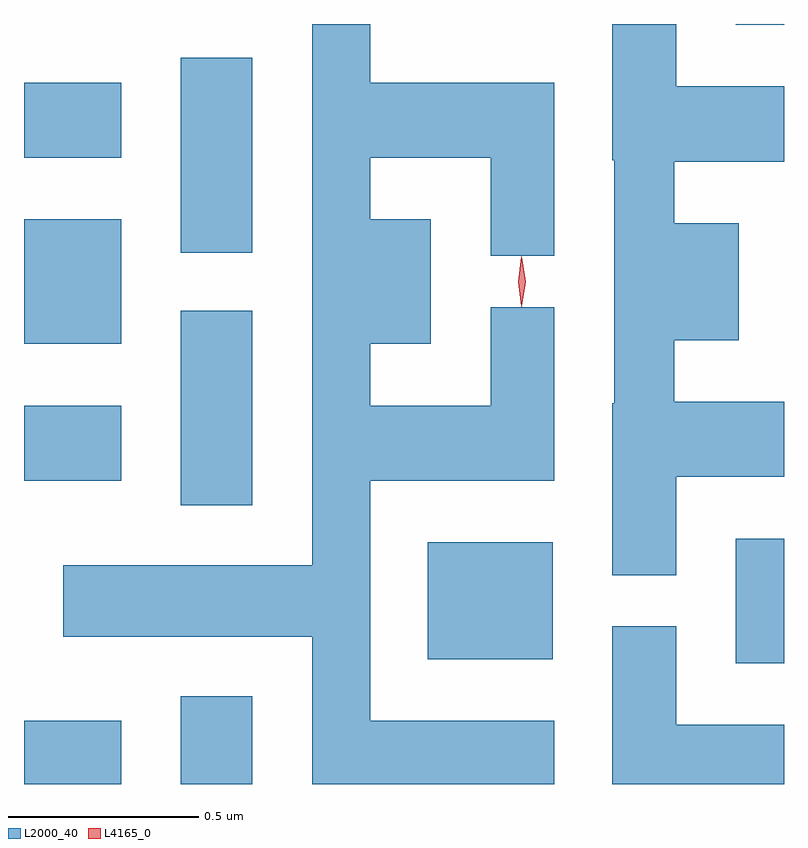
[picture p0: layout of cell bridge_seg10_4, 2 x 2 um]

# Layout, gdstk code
import gdstk
lib = gdstk.Library(unit=1e-6, precision=1e-09)
def R(c, l, rs):  # rectangles x0, y0, x1, y1
    for r in rs: c.add(gdstk.rectangle(r[:2], r[2:], *l))
def P(c, l, *ps):  # polygons
    for p in ps: c.add(gdstk.Polygon(p, *l))
L2000_40 = (2000, 40)
L4165_0 = (4165, 0)

bridge_seg10_4 = lib.new_cell('bridge_seg10_4')
R(bridge_seg10_4, L2000_40, [(1911.483,2159.448,1911.739,2159.614), (1911.896,2159.448,1912.084,2159.679), (1913.356,2159.766,1913.483,2160.094), (1912.546,2159.776,1912.874,2160.084), (1911.896,2160.181,1912.084,2160.694), (1911.483,2160.246,1911.739,2160.444), (1911.483,2160.606,1911.739,2160.934), (1911.896,2160.846,1912.084,2161.359), (1911.483,2161.096,1911.739,2161.294), (1913.356,2161.446,1913.483,2161.448)])
P(bridge_seg10_4, L2000_40, [(1913.199,2160.256),(1913.483,2160.256),(1913.483,2160.454),(1913.194,2160.454),(1913.194,2160.616),(1913.364,2160.616),(1913.364,2160.924),(1913.194,2160.924),(1913.194,2161.086),(1913.483,2161.086),(1913.483,2161.284),(1913.199,2161.284),(1913.199,2161.448),(1913.031,2161.448),(1913.031,2161.09),(1913.036,2161.09),(1913.036,2160.45),(1913.031,2160.45),(1913.031,2159.998),(1913.199,2159.998)],
  [(1912.879,2159.614),(1912.394,2159.614),(1912.394,2160.246),(1912.879,2160.246),(1912.879,2160.703),(1912.711,2160.703),(1912.711,2160.444),(1912.394,2160.444),(1912.394,2160.606),(1912.554,2160.606),(1912.554,2160.934),(1912.394,2160.934),(1912.394,2161.096),(1912.711,2161.096),(1912.711,2160.838),(1912.879,2160.838),(1912.879,2161.294),(1912.394,2161.294),(1912.394,2161.448),(1912.241,2161.448),(1912.241,2160.024),(1911.586,2160.024),(1911.586,2159.836),(1912.241,2159.836),(1912.241,2159.448),(1912.879,2159.448)],
  [(1913.483,2159.604),(1913.199,2159.604),(1913.199,2159.863),(1913.031,2159.863),(1913.031,2159.448),(1913.483,2159.448)])
P(bridge_seg10_4, L4165_0, [(1912.793,2160.704),(1912.792,2160.705),(1912.783,2160.77),(1912.792,2160.835),(1912.793,2160.836),(1912.793,2160.835),(1912.803,2160.77),(1912.793,2160.705)])

lib.write_gds('bridge_seg10_4.gds')
